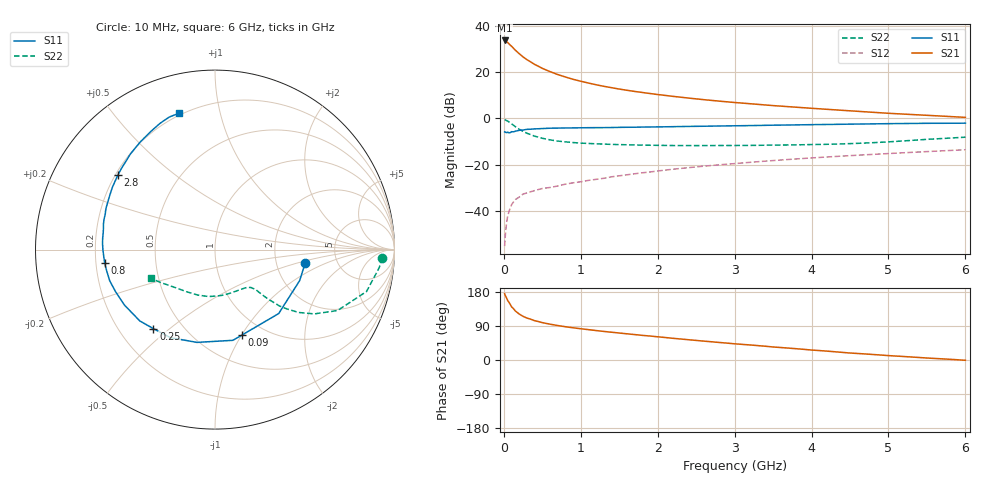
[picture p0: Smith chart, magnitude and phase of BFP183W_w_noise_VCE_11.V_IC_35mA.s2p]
! Infineon Technologies  Discrete & RF Semiconductors
! BFP183W
! VCE =  11. V,  IC =  35 mA
! Common Emitter S-Parameters:  Jan 2017
# GHz  S  MA  R  50
!  f  S11  S21  S12  S22
! GHz  MAG  ANG  MAG  ANG  MAG  ANG  MAG  ANG
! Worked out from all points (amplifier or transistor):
!   77 points, 10 MHz to 6 GHz, reference 50 ohm
!   highest |S21| = 33.8 dB at 10 MHz (marker M1)
!   |S21| within 3 dB of that: start of sweep to 114.6 MHz
!   unconditionally stable (mu >= 1): 1.052 GHz to 3.696 GHz
!   at 130 MHz: K = 0.37, MSG = 33.1 dB, |S12| = -36.0 dB
!   at 2.2 GHz: K = 1.08, MAG = 14.0 dB, |S12| = -22.0 dB
!   at 6 GHz: K = 0.85, MSG = 7.0 dB, |S12| = -13.6 dB
!   lowest NFmin = 1.51 dB at 450 MHz
!   S11 on the Smith chart (normalised r, x): 10 MHz: 2.94, -0.58; 90 MHz: 0.79, -1.00; 250 MHz: 0.34, -0.44; 800 MHz: 0.24, -0.06; 2.8 GHz: 0.21, +0.33; 6 GHz: 0.19, +0.76
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0.01  0.508 -8.3  48.73 174.9  0.0017 61.0  0.9323 -2.8
0.02  0.5025 -20.0  47.59 169.8  0.003 78.2  0.9204 -6.3
0.05  0.5029 -45.1  44.05 157.0  0.0076 70.6  0.8759 -15.5
0.09  0.499 -72.4  37.76 144.2  0.0122 63.3  0.7826 -24.0
0.1  0.5152 -78.8  36.55 140.4  0.0134 62.3  0.7624 -26.4
0.15  0.5267 -101.0  29.95 129.3  0.0174 56.4  0.6598 -32.9
0.2  0.5501 -116.9  25.16 121.3  0.0197 52.4  0.5816 -37.0
0.25  0.5582 -127.9  21.45 115.2  0.0229 49.5  0.5223 -39.4
0.3  0.5775 -136.5  18.68 110.7  0.0242 47.9  0.4755 -41.2
0.4  0.5918 -148.6  14.76 103.7  0.0272 47.8  0.4107 -42.8
0.5  0.6016 -157.1  12.13 98.6  0.0302 46.9  0.3703 -43.6
0.6  0.6118 -163.5  10.3 94.5  0.0318 49.2  0.3416 -44.1
0.8  0.6192 -173.0  7.877 87.8  0.0375 52.7  0.3097 -45.0
0.9  0.6211 -176.7  7.021 85.0  0.0401 52.7  0.299 -45.9
1.1  0.6276 176.9  5.817 80.1  0.0453 55.0  0.2859 -47.6
1.5  0.6378 167.0  4.313 71.2  0.0569 57.8  0.2697 -52.9
2.1  0.6562 154.4  3.136 59.3  0.0757 59.1  0.2589 -64.1
2.8  0.683 142.3  2.36 46.3  0.0984 58.1  0.2579 -80.6
3.1  0.6933 137.5  2.14 41.2  0.108 56.9  0.2585 -88.0
4.1  0.7335 123.4  1.611 24.9  0.1421 52.2  0.272 -113.4
5.1  0.7697 112.6  1.261 10.4  0.1762 46.5  0.3169 -139.8
6  0.786 104.6  1.05 -0.7  0.2088 40.6  0.3906 -155.7
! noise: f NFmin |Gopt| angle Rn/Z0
0.45  1.51  0.29  -177  0.1
0.9  1.56  0.32  -176  0.1
1.9  2.05  0.47  -154  0.11
2.4  2.31  0.51  -151  0.16
